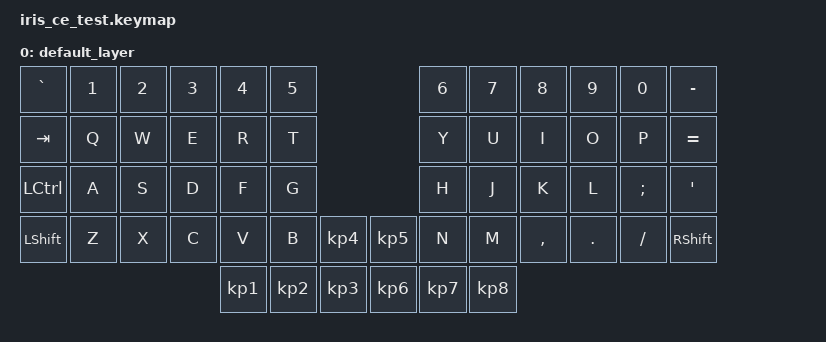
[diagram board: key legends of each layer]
/*
 * Copyright (c) 2020 The ZMK Contributors
 *
 * SPDX-License-Identifier: MIT
 */

#include <behaviors.dtsi>
#include <dt-bindings/zmk/keys.h>

/ {
    keymap {
        compatible = "zmk,keymap";

        default_layer {
            bindings = <
&kp GRAVE  &kp N1  &kp N2  &kp N3  &kp N4    &kp N5                          &kp N6     &kp N7  &kp N8     &kp N9   &kp N0    &kp MINUS
&kp TAB    &kp Q   &kp W   &kp E   &kp R     &kp T                           &kp Y      &kp U   &kp I      &kp O    &kp P     &kp EQUAL
&kp LCTRL  &kp A   &kp S   &kp D   &kp F     &kp G                           &kp H      &kp J   &kp K      &kp L    &kp SEMI  &kp SQT
&kp LSHFT  &kp Z   &kp X   &kp C   &kp V     &kp B     &kp KP_N4  &kp KP_N5  &kp N      &kp M   &kp COMMA  &kp DOT  &kp FSLH  &kp RSHFT
                                   &kp KP_N1 &kp KP_N2 &kp KP_N3  &kp KP_N6  &kp KP_N7  &kp KP_N8
            >;
        };
    };

    conditional_layers { compatible = "zmk,conditional-layers"; };
};
